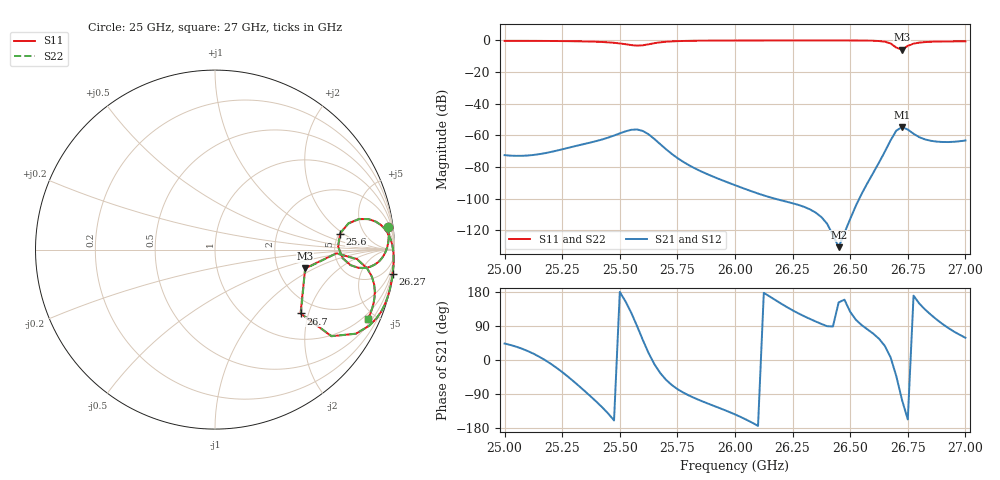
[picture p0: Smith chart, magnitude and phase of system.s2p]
! Touchstone file exported from HFSS 2024.2.0
!  File:  D:/dev/ENZ_ANT/ENZ-Eigenchannel-mimo/poros_aedt/reconstrucoes_exploratorias/Q4_mimo2x2_c0_v8/projeto_configurado/Q4_mimo2x2_c0_v8_HIPOTESE.aedt
!  Generated:  09:31:49 AM Aug  4, 2026
!  Design:  HFSS_ENZ_Q4_mimo2x2_c0_v8
!  Project:  Q4_mimo2x2_c0_v8_HIPOTESE
!  Setup:  Setup_Q4_MIMO2X2
!  Solution:  Sweep_Q4_25_27GHz
! Variables:
!  altura_interna_wr28 = 7.11mm
!  cavidade_area_plana = 108mm2
!  cavidade_comprimento_interno_exploratorio = 18mm
!  cavidade_largura_interna_exploratoria = 6mm
!  chanfro = 3mm
!  comprimento_total_eixo_y = 27mm
!  corpo_altura_externa = 11.11mm
!  corpo_comprimento_externo = 36mm
!  corpo_largura_externa_exploratoria = 9mm
!  degrau_altura = 1mm
!  degrau_largura = 9mm
!  espessura_fundo_exploratoria = 3mm
!  espessura_parede_lateral = 1mm
!  espessura_tampa = 1mm
!  flange_comprimento_exploratorio = 4mm
!  flange_largura = 22.5mm
!  fr4_dimensao_x = 3mm
!  fr4_dimensao_y = 1.65mm
!  fr4_epsilon_r_exploratorio = 4.4
!  fr4_tan_delta_exploratorio = 0.02
!  frequencia_adaptativa = 25.87GHz
!  frequencia_sweep_fim = 27GHz
!  frequencia_sweep_inicio = 25GHz
!  largura_interna_wr28 = 3.56mm
!  parafuso_diametro_exploratorio = 2mm
!  pino_diametro = 1mm
!  pino_offset_x_exploratorio = 2mm
!  pino_offset_y_exploratorio = 1.325mm
!  plano_porta_y = -18mm
!  q4_branch_length = 19.9956242277669mm
!  q4_external_port_y = -62.9901545124755mm
!  q4_frequency = 25.87GHz
!  q4_input_length = 19.9956242277669mm
!  q4_interpair_spacing = 96mm
!  q4_junction_length = 4.99890605694172mm
!  q4_lambda_g = 19.9956242277669mm
!  q4_pair_spacing = 42mm
!  q4_wg_a_z = 7.11mm
!  q4_wg_b_x = 3.56mm
!  ranhura_comprimento = 5.66mm
!  ranhura_largura = 0.8mm
!  ranhura_passo_exploratorio = 4mm
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# GHz S MA R 50.000000
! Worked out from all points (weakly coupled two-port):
!   81 points, 25 GHz to 27 GHz, reference 50 ohm
!   highest |S21| = -54.74 dB at 26.73 GHz (marker M1); lowest = -130.6 dB at 26.45 GHz (marker M2)
!   lowest |S11| = -5.8 dB at 26.73 GHz (marker M3), VSWR 3.11, Z = 142 - j40.3 ohm
!   |S11| at or under -10 dB: nowhere
!   |S22| runs from -5.8 to 0.0 dB; largest |S21 - S12| = 2.2e-16
!   S11 on the Smith chart (normalised r, x): 25 GHz: 3, +14; 25.6 GHz: 5.07, +1.80; 26.27 GHz: 0, -14; 26.7 GHz: 1.61, -1.78; 27 GHz: 0.73, -4.51
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25  0.9703 7.5  0.0002374 43.5  0.0002374 43.5  0.9707 7.6
! Gamma 0 281.600730324164 0 281.600727661023
! Port Impedance 50 0 50 0
25.15  0.9668 2.7  0.0002549 8.8  0.0002549 8.8  0.9673 2.7
25.35  0.9307 -2.9  0.0005444 -83.2  0.0005444 -83.2  0.9309 -3.0
25.5  0.8057 -7.2  0.001157 179.5  0.001157 179.5  0.8039 -7.3
25.55  0.7134 -3.9  0.001505 124.2  0.001505 124.2  0.7111 -3.7
25.6  0.703 7.3  0.00138 52.7  0.00138 52.7  0.7041 7.5
25.675  0.8711 11.3  0.0005322 -34.0  0.0005322 -34.0  0.8724 11.2
25.75  0.951 7.1  0.0001928 -76.7  0.0001928 -76.7  0.9513 7.1
25.825  0.9779 3.8  9.153e-05 -100.6  9.153e-05 -100.6  0.9779 3.8
26  0.9945 -1.4  2.674e-05 -143.6  2.674e-05 -143.6  0.9944 -1.4
26.275  0.9992 -7.9  6.361e-06 123.1  6.361e-06 123.1  0.9992 -7.9
26.35  0.9995 -10.0  3.642e-06 101.7  3.642e-06 101.7  0.9995 -10.0
26.45  0.999 -13.4  2.948e-07 152.0  2.948e-07 152.0  0.999 -13.4
26.6  0.9781 -23.0  6.558e-05 69.5  6.558e-05 69.5  0.978 -23.0
26.625  0.9583 -26.3  0.0001384 56.1  0.0001384 56.1  0.9583 -26.3
26.675  0.8085 -36.7  0.00069 7.5  0.00069 7.5  0.8091 -36.6
26.7  0.5946 -36.7  0.001413 -42.3  0.001413 -42.3  0.597 -36.7
26.725  0.5129 -11.7  0.001831 -105.6  0.001831 -105.6  0.5135 -12.0
26.75  0.6771 -1.7  0.001528 -157.0  0.001528 -157.0  0.6758 -1.8
26.8  0.8549 -7.1  0.0008767 148.8  0.0008767 148.8  0.8541 -7.1
26.875  0.9201 -14.6  0.0006374 107.0  0.0006374 107.0  0.9198 -14.5
27  0.9357 -24.4  0.000691 58.8  0.000691 58.8  0.9356 -24.4
